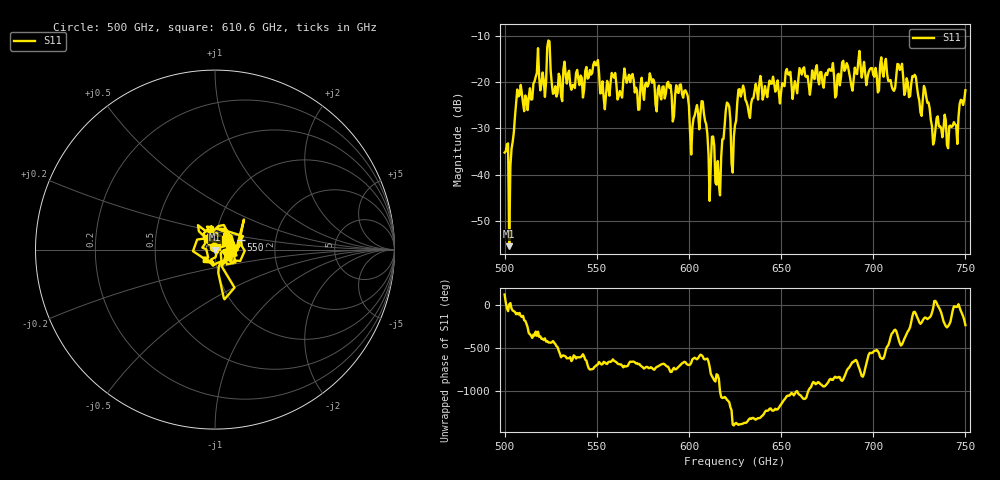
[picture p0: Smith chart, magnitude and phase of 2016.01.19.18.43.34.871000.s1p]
!Created with skrf (http://scikit-rf.org).
# GHz S RI R 50.0
!freq ReS11 ImS11
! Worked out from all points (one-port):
!   401 points, 500 GHz to 750 GHz, reference 50 ohm
!   lowest |S11| = -55.5 dB at 502.5 GHz (marker M1), VSWR 1.00, Z = 50.2 + j0.0121 ohm
!   |S11| at or under -10 dB: start of sweep to end of sweep
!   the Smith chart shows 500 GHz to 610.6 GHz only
!   S11 on the Smith chart (normalised r, x): 500 GHz: 0.98, +0.03; 550 GHz: 1.33, +0.14; 610.6 GHz: 1.02, +0.03
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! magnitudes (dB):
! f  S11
! 500 GHz  -35.2
! 502.5 GHz  -55.5
! 508.1 GHz  -22.8
! 520.6 GHz  -17.9
! 523.8 GHz  -11.0
! 526.9 GHz  -22.4
! 531.2 GHz  -24.1
! 550 GHz  -16.3
! 553.1 GHz  -19.9
! 558.8 GHz  -18.6
! 562.5 GHz  -21.9
! 593.8 GHz  -22.2
! 598.8 GHz  -22.3
! 601.9 GHz  -29.7
! 608.1 GHz  -26.8
! 610.6 GHz  -35.6
! 615.6 GHz  -37.1
! 620.6 GHz  -24.4
! 625 GHz  -29.3
! 628.1 GHz  -23.1
! 656.2 GHz  -23.7
! 687.5 GHz  -19.2
! 705.6 GHz  -18.8
! 710.6 GHz  -21.6
! 714.4 GHz  -17.4
! 718.8 GHz  -20.1
! 741.2 GHz  -29.5
! 750 GHz  -21.8
